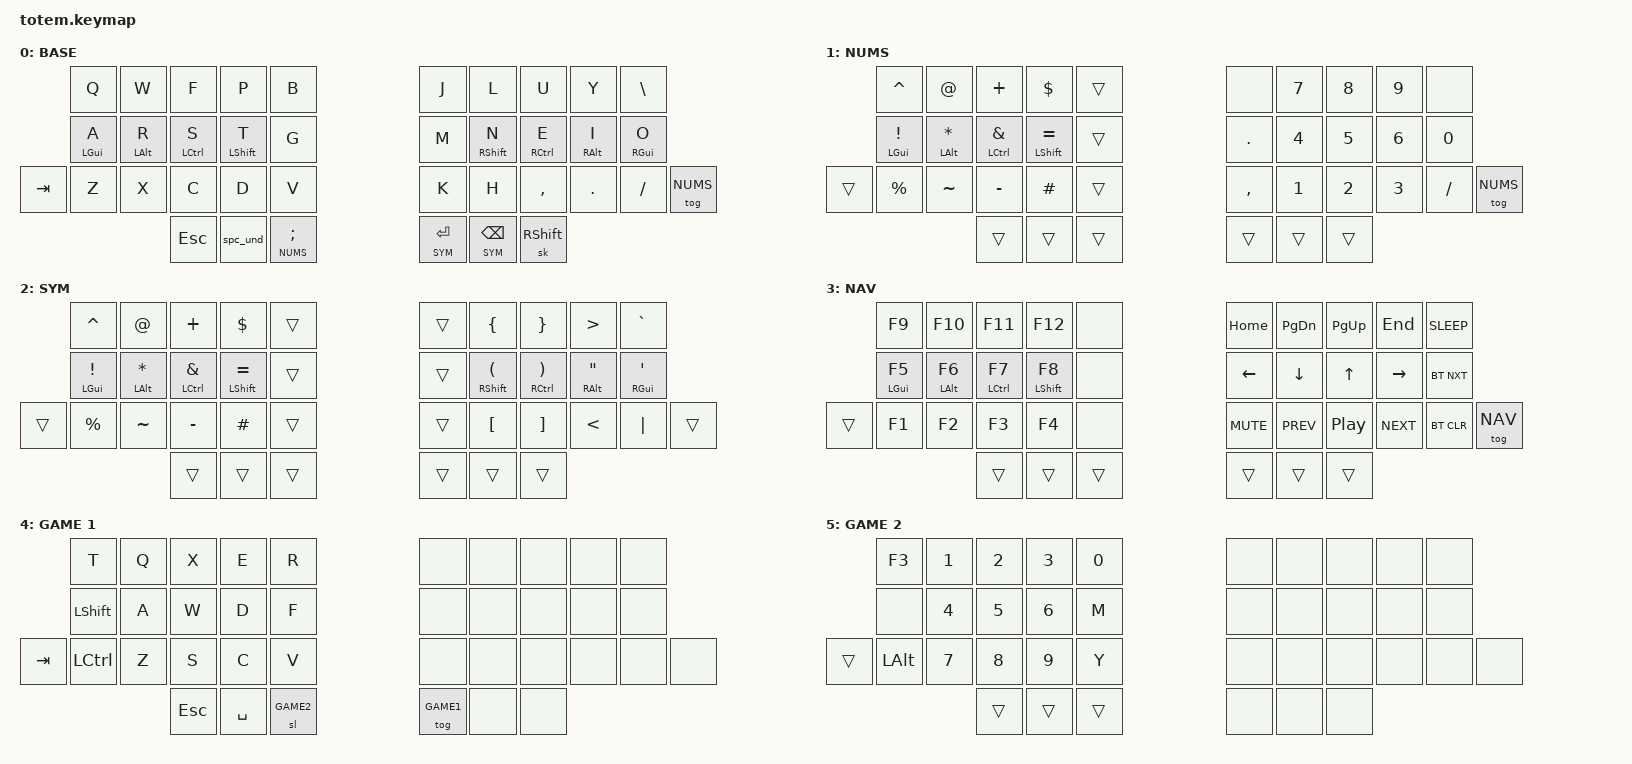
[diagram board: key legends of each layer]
//                                                        ▀▀▀▀▀     ▀▀▀▀▀          ▀▀█▀▀
//                                                        ▄▀▀▀▄  ▄  ▄▀▀▀▄  ▄  ▄▀▀▀▄  █  ▄▀▀▀▄
//                                                        █   █  █  █   █  █  █   █  █  █   █
//                                                         ▀▀▀   █   ▀▀▀   █   ▀▀▀   ▀   ▀▀▀
//                                                               █      ▄▄▄█▄▄▄    █   █  
//                                                               ▀      █  █  █     █▄█
//                                                             ▀▀▀▀▀    █  █  █      ▀
//                                                                      ▀  ▀  ▀
//
// ▄▄▄▄▄▄▄▄▄▄▄▄▄▄▄▄▄▄▄▄▄▄▄▄▄▄▄▄▄▄▄▄▄▄▄▄▄▄▄▄▄▄▄▄▄▄▄▄▄▄▄▄▄▄▄▄▄▄▄▄▄▄▄▄▄▄▄▄▄▄▄▄▄▄▄▄▄▄▄▄▄▄▄▄▄▄▄▄▄▄▄▄▄▄▄▄▄▄▄▄▄▄▄▄▄▄▄▄▄▄▄▄▄▄▄▄▄▄▄▄▄▄▄▄▄▄▄▄▄▄▄▄▄▄▄▄▄▄▄▄▄▄▄▄▄▄▄▄▄
       

#include <behaviors.dtsi>
#include <dt-bindings/zmk/keys.h>
#include <dt-bindings/zmk/bt.h>
#include <dt-bindings/zmk/outputs.h>
#include <dt-bindings/zmk/pointing.h>
    
#define BASE 0
#define NUMS 1
#define SYM  2
#define NAV  3
#define GAME1 4
#define GAME2 5

&lt {
  flavor = "hold-preferred";
  tapping-term-ms = <170>;
};

&sk {
    quick-release;
};

/ {
     combos {
            compatible = "zmk,combos";
            combo_nav {
                timeout-ms = <50>;
                key-positions = <33 36>;
                bindings = <&sl NAV>;
            };

            combo_capsword {
                timeout-ms = <75>;
                key-positions = <32 37>;
                bindings = <&caps_word>;
            };

            combo_qmark{
                timeout-ms = <75>;
                key-positions = <28 29>;
                bindings = <&kp QMARK>;
            };

            combo_game1 {
                timeout-ms = <100>;
                key-positions = <11 12 13 23>;
                bindings = <&tog GAME1>;
                layers = <BASE>;
            };

            combo_bootloader {
                timeout-ms = <50>;
                key-positions = <20 31>;
                bindings = <&bootloader>;
            };

            combo_bright_dwn {
                timeout-ms = <50>;
                key-positions = <15 26>;
                bindings = <&kp C_BRI_DN>;
                layers = <BASE>;
            };
            combo_bright_up {
                timeout-ms = <50>;
                key-positions = <5 15>;
                bindings = <&kp C_BRI_UP>;
                layers = <BASE>;
            };

            combo_vol_dn {
                timeout-ms = <50>;
                key-positions = <14 25>;
                bindings = <&kp C_VOL_DN>;
                layers = <BASE>;
            };
            combo_vol_up {
                timeout-ms = <50>;
                key-positions = <4 14>;
                bindings = <&kp C_VOL_UP>;
                layers = <BASE>;
            };

    };

    behaviors {
        spc_und: space_underscore {
            compatible = "zmk,behavior-mod-morph";
            #binding-cells = <0>;
            bindings = <&kp SPACE>, <&kp UNDER>;
            mods = <(MOD_LSFT|MOD_RSFT)>;
        };

        hml: home_row_mod_left {
            compatible = "zmk,behavior-hold-tap";
            #binding-cells = <2>;
            bindings = <&kp>, <&kp>;
            flavor = "balanced";
            require-prior-idle-ms = <150>;
            tapping-term-ms = <280>;
            quick-tap-ms = <175>;
            hold-trigger-key-positions = <
                5 6 7 8 9
                15 16 17 18 19
                26 27 28 29 30 31
                35 36 37
            >;
            hold-trigger-on-release;
        };

        hmr: home_row_mod_right {
            compatible = "zmk,behavior-hold-tap";
            #binding-cells = <2>;
            bindings = <&kp>, <&kp>;
            flavor = "balanced";
            require-prior-idle-ms = <150>;
            tapping-term-ms = <280>;
            quick-tap-ms = <175>;
            hold-trigger-key-positions = <
                0 1 2 3 4
                10 11 12 13 14
                20 21 22 23 24 25
                32 33 34
            >;
            hold-trigger-on-release;
        };

        hmlm: home_row_mod_left_mouse_emulation {
            compatible = "zmk,behavior-hold-tap";
            #binding-cells = <2>;
            bindings = <&kp>, <&mmv>;
            flavor = "balanced";
            require-prior-idle-ms = <150>;
            tapping-term-ms = <280>;
            quick-tap-ms = <175>;
            hold-trigger-key-positions = <
                5 6 7 8 9
                15 16 17 18 19
                26 27 28 29 30 31
                35 36 37
            >;
            hold-trigger-on-release;
        };

    };

        keymap {
                compatible = "zmk,keymap";
// ▄▄▄▄▄▄▄▄▄▄▄▄▄▄▄▄▄▄▄▄▄▄▄▄▄▄▄▄▄▄▄▄▄▄▄▄▄▄▄▄▄▄▄▄▄▄▄▄▄▄▄▄▄▄▄▄▄▄▄▄▄▄▄▄▄▄▄▄▄▄▄▄▄▄▄▄▄▄▄▄▄▄▄▄▄▄▄▄▄▄▄▄▄▄▄▄▄▄▄▄▄▄▄▄▄▄▄▄▄▄▄▄▄▄▄▄▄▄▄▄▄▄▄▄▄▄▄▄▄▄▄▄▄▄▄▄▄▄▄▄▄▄▄▄▄▄▄▄▄▄▄▄▄▄▄▄▄▄▄▄▄▄▄▄▄▄▄▄▄▄▄▄▄▄▄▄▄▄▄▄▄▄▄▄▄▄▄▄▄▄▄▄▄▄▄▄▄▄▄▄▄▄▄▄▄▄▄▄▄▄▄▄▄▄▄▄▄▄▄▄▄

                base_layer {
// ┏━━━━━━━━━━━━━━━━━━━━━━━━━━━━━━━━━━━━━━━┓
label= "BASE"                               ;
// ┗━━━━━━━━━━━━━━━━━━━━━━━━━━━━━━━━━━━━━━━┛
//							             ┏━━━━━━━━━━━┳━━━━━━━━━━━┳━━━━━━━━━━━┳━━━━━━━━━━━┳━━━━━━━━━━━┓   ┏━━━━━━━━━━━┳━━━━━━━━━━━┳━━━━━━━━━━━┳━━━━━━━━━━━┳━━━━━━━━━━━┓
//							             ┃     Q     ┃     W     ┃     F     ┃     P     ┃     B     ┃   ┃     J     ┃     L     ┃     U     ┃     Y     ┃     \     ┃
//							             ┣━━━━━━━━━━━╋━━━━━━━━━━━╋━━━━━━━━━━━╋━━━━━━━━━━━╋━━━━━━━━━━━┫   ┣━━━━━━━━━━━╋━━━━━━━━━━━╋━━━━━━━━━━━╋━━━━━━━━━━━╋━━━━━━━━━━━┫
//							             ┃     A     ┃     R     ┃     S     ┃     T     ┃     G     ┃   ┃     M     ┃     N     ┃     E     ┃     I     ┃     O     ┃
//							 ┏━━━━━━━━━━━╋━━━━━━━━━━━╋━━━━━━━━━━━╋━━━━━━━━━━━╋━━━━━━━━━━━╋━━━━━━━━━━━┫   ┣━━━━━━━━━━━╋━━━━━━━━━━━╋━━━━━━━━━━━╋━━━━━━━━━━━╋━━━━━━━━━━━╋━━━━━━━━━━━┓
//							 ┃    TAB    ┃     Z     ┃     X     ┃     C     ┃     D     ┃     V     ┃   ┃     K     ┃     H     ┃     ,     ┃     .     ┃     /     ┃  TOG NAV  ┃
//							 ┗━━━━━━━━━━━┻━━━━━━━━━━━┻━━━━━━━━━━━╋━━━━━━━━━━━╋━━━━━━━━━━━╋━━━━━━━━━━━┫   ┣━━━━━━━━━━━╋━━━━━━━━━━━╋━━━━━━━━━━━╋━━━━━━━━━━━┻━━━━━━━━━━━┻━━━━━━━━━━━┛
//							                                     ┃    ESC    ┃    SPC    ┃ NUMS/;    ┃   ┃   ENTER   ┃ SYM/BSPC  ┃ OSL SHIFT ┃
//							                                     ┗━━━━━━━━━━━┻━━━━━━━━━━━┻━━━━━━━━━━━┛   ┗━━━━━━━━━━━┻━━━━━━━━━━━┻━━━━━━━━━━━┛
 bindings = <
                &kp Q            &kp W            &kp F            &kp P            &kp B                                       &kp J            &kp L            &kp U            &kp Y            &kp BSLH
                &hml LGUI A      &hml LALT R      &hml LCTRL S     &hml LSHFT T     &kp G                                       &kp M            &hmr RSHFT N     &hmr RCTRL E     &hmr RALT I      &hmr RGUI O
    &kp TAB     &kp Z            &kp X            &kp C	           &kp D            &kp V                                       &kp K            &kp H            &kp COMMA        &kp DOT          &kp FSLH         &tog NUMS 
                                                  &kp ESC          &spc_und         &lt NUMS SEMI                               &lt SYM RET      &lt SYM BSPC     &sk RSHFT
                        >;
                };

// ▄▄▄▄▄▄▄▄▄▄▄▄▄▄▄▄▄▄▄▄▄▄▄▄▄▄▄▄▄▄▄▄▄▄▄▄▄▄▄▄▄▄▄▄▄▄▄▄▄▄▄▄▄▄▄▄▄▄▄▄▄▄▄▄▄▄▄▄▄▄▄▄▄▄▄▄▄▄▄▄▄▄▄▄▄▄▄▄▄▄▄▄▄▄▄▄▄▄▄▄▄▄▄▄▄▄▄▄▄▄▄▄▄▄▄▄▄▄▄▄▄▄▄▄▄▄▄▄▄▄▄▄▄▄▄▄▄▄▄▄▄▄▄▄▄▄▄▄▄▄▄▄▄▄▄▄▄▄▄▄▄▄▄▄▄▄▄▄▄▄▄▄▄▄▄▄▄▄▄▄▄▄▄▄▄▄▄▄▄▄▄▄▄▄▄▄▄▄▄▄▄▄▄▄▄▄▄▄▄▄▄▄▄▄▄▄▄▄▄▄▄


                nums_layer {
// ┏━━━━━━━━━━━━━━━━━━━━━━━━━━━━━━━━━━━━━━━┓
label= "NUMS"                               ;
// ┗━━━━━━━━━━━━━━━━━━━━━━━━━━━━━━━━━━━━━━━┛
//							             ┏━━━━━━━━━━━┳━━━━━━━━━━━┳━━━━━━━━━━━┳━━━━━━━━━━━┳━━━━━━━━━━━┓   ┏━━━━━━━━━━━┳━━━━━━━━━━━┳━━━━━━━━━━━┳━━━━━━━━━━━┳━━━━━━━━━━━┓
//							             ┃           ┃           ┃           ┃           ┃           ┃   ┃           ┃     7     ┃     8     ┃     9     ┃           ┃
//							             ┣━━━━━━━━━━━╋━━━━━━━━━━━╋━━━━━━━━━━━╋━━━━━━━━━━━╋━━━━━━━━━━━┫   ┣━━━━━━━━━━━╋━━━━━━━━━━━╋━━━━━━━━━━━╋━━━━━━━━━━━╋━━━━━━━━━━━┫
//							             ┃           ┃           ┃           ┃           ┃           ┃   ┃     .     ┃     4     ┃     5     ┃     6     ┃     0     ┃
//							 ┏━━━━━━━━━━━╋━━━━━━━━━━━╋━━━━━━━━━━━╋━━━━━━━━━━━╋━━━━━━━━━━━╋━━━━━━━━━━━┫   ┣━━━━━━━━━━━╋━━━━━━━━━━━╋━━━━━━━━━━━╋━━━━━━━━━━━╋━━━━━━━━━━━╋━━━━━━━━━━━┓
//							 ┃           ┃           ┃           ┃           ┃           ┃           ┃   ┃     ,     ┃     1     ┃     2     ┃     3     ┃     /     ┃ TOG NUMS  ┃
//							 ┗━━━━━━━━━━━┻━━━━━━━━━━━┻━━━━━━━━━━━╋━━━━━━━━━━━╋━━━━━━━━━━━╋━━━━━━━━━━━┫   ┣━━━━━━━━━━━╋━━━━━━━━━━━╋━━━━━━━━━━━╋━━━━━━━━━━━┻━━━━━━━━━━━┻━━━━━━━━━━━┛
//							                                     ┃           ┃           ┃           ┃   ┃           ┃           ┃           ┃
//							                                     ┗━━━━━━━━━━━┻━━━━━━━━━━━┻━━━━━━━━━━━┛   ┗━━━━━━━━━━━┻━━━━━━━━━━━┻━━━━━━━━━━━┛
 bindings = <
                &kp CARET        &kp AT           &kp PLUS         &kp DOLLAR       &trans                  &none            &kp N7           &kp N8           &kp N9           &none
                &hml LGUI EXCL   &hml LALT STAR   &hml LCTRL AMPS  &hml LSHFT EQUAL &trans                  &kp PERIOD       &kp N4           &kp N5           &kp N6           &kp N0
    &trans      &kp PRCNT        &kp TILDE        &kp MINUS        &kp HASH         &trans                  &kp COMMA        &kp N1           &kp N2           &kp N3           &kp FSLH         &tog NUMS
                                                  &trans           &trans           &trans                  &trans           &trans           &trans
                        >;
                };

// ▄▄▄▄▄▄▄▄▄▄▄▄▄▄▄▄▄▄▄▄▄▄▄▄▄▄▄▄▄▄▄▄▄▄▄▄▄▄▄▄▄▄▄▄▄▄▄▄▄▄▄▄▄▄▄▄▄▄▄▄▄▄▄▄▄▄▄▄▄▄▄▄▄▄▄▄▄▄▄▄▄▄▄▄▄▄▄▄▄▄▄▄▄▄▄▄▄▄▄▄▄▄▄▄▄▄▄▄▄▄▄▄▄▄▄▄▄▄▄▄▄▄▄▄▄▄▄▄▄▄▄▄▄▄▄▄▄▄▄▄▄▄▄▄▄▄▄▄▄▄▄▄▄▄▄▄▄▄▄▄▄▄▄▄▄▄▄▄▄▄▄▄▄▄▄▄▄▄▄▄▄▄▄▄▄▄▄▄▄▄▄▄▄▄▄▄▄▄▄▄▄▄▄▄▄▄▄▄▄▄▄▄▄▄▄▄▄▄▄▄▄

                sym_layer {
// ┏━━━━━━━━━━━━━━━━━━━━━━━━━━━━━━━━━━━━━━━┓
label= "SYM"                                ;
// ┗━━━━━━━━━━━━━━━━━━━━━━━━━━━━━━━━━━━━━━━┛
//							             ┏━━━━━━━━━━━┳━━━━━━━━━━━┳━━━━━━━━━━━┳━━━━━━━━━━━┳━━━━━━━━━━━┓   ┏━━━━━━━━━━━┳━━━━━━━━━━━┳━━━━━━━━━━━┳━━━━━━━━━━━┳━━━━━━━━━━━┓
//							             ┃     ^     ┃     @     ┃     +     ┃     $     ┃           ┃   ┃           ┃     {     ┃     }     ┃     >     ┃     `     ┃
//							             ┣━━━━━━━━━━━╋━━━━━━━━━━━╋━━━━━━━━━━━╋━━━━━━━━━━━╋━━━━━━━━━━━┫   ┣━━━━━━━━━━━╋━━━━━━━━━━━╋━━━━━━━━━━━╋━━━━━━━━━━━╋━━━━━━━━━━━┫
//							             ┃     !     ┃     *     ┃     &     ┃     =     ┃           ┃   ┃           ┃     (     ┃     )     ┃     "     ┃     '     ┃
//							 ┏━━━━━━━━━━━╋━━━━━━━━━━━╋━━━━━━━━━━━╋━━━━━━━━━━━╋━━━━━━━━━━━╋━━━━━━━━━━━┫   ┣━━━━━━━━━━━╋━━━━━━━━━━━╋━━━━━━━━━━━╋━━━━━━━━━━━╋━━━━━━━━━━━╋━━━━━━━━━━━┓
//							 ┃           ┃     %     ┃     ~     ┃     -     ┃     #     ┃           ┃   ┃           ┃     [     ┃     ]     ┃     <     ┃     |     ┃           ┃
//							 ┗━━━━━━━━━━━┻━━━━━━━━━━━┻━━━━━━━━━━━╋━━━━━━━━━━━╋━━━━━━━━━━━╋━━━━━━━━━━━┫   ┣━━━━━━━━━━━╋━━━━━━━━━━━╋━━━━━━━━━━━╋━━━━━━━━━━━┻━━━━━━━━━━━┻━━━━━━━━━━━┛
//							                                     ┃           ┃           ┃           ┃   ┃           ┃           ┃           ┃
//							                                     ┗━━━━━━━━━━━┻━━━━━━━━━━━┻━━━━━━━━━━━┛   ┗━━━━━━━━━━━┻━━━━━━━━━━━┻━━━━━━━━━━━┛
 bindings = <
                &kp CARET        &kp AT           &kp PLUS         &kp DOLLAR       &trans                  &trans           &kp LBRC         &kp RBRC         &kp GT           &kp GRAVE
                &hml LGUI EXCL   &hml LALT STAR   &hml LCTRL AMPS  &hml LSHFT EQUAL &trans                  &trans           &hmr RSHFT LPAR  &hmr RCTRL RPAR  &hmr RALT DQT    &hmr RGUI APOS
    &trans      &kp PRCNT        &kp TILDE        &kp MINUS        &kp HASH         &trans                  &trans           &kp LBKT         &kp RBKT         &kp LT           &kp PIPE         &trans
                                                  &trans           &trans           &trans                  &trans           &trans           &trans
                        >;
                };

// ▄▄▄▄▄▄▄▄▄▄▄▄▄▄▄▄▄▄▄▄▄▄▄▄▄▄▄▄▄▄▄▄▄▄▄▄▄▄▄▄▄▄▄▄▄▄▄▄▄▄▄▄▄▄▄▄▄▄▄▄▄▄▄▄▄▄▄▄▄▄▄▄▄▄▄▄▄▄▄▄▄▄▄▄▄▄▄▄▄▄▄▄▄▄▄▄▄▄▄▄▄▄▄▄▄▄▄▄▄▄▄▄▄▄▄▄▄▄▄▄▄▄▄▄▄▄▄▄▄▄▄▄▄▄▄▄▄▄▄▄▄▄▄▄▄▄▄▄▄▄▄▄▄▄▄▄▄▄▄▄▄▄▄▄▄▄▄▄▄▄▄▄▄▄▄▄▄▄▄▄▄▄▄▄▄▄▄▄▄▄▄▄▄▄▄▄▄▄▄▄▄▄▄▄▄▄▄▄▄▄▄▄▄▄▄▄▄▄▄▄▄

                nav_layer {
// ┏━━━━━━━━━━━━━━━━━━━━━━━━━━━━━━━━━━━━━━━┓
label= "NAV"                                ;
// ┗━━━━━━━━━━━━━━━━━━━━━━━━━━━━━━━━━━━━━━━┛
//							             ┏━━━━━━━━━━━┳━━━━━━━━━━━┳━━━━━━━━━━━┳━━━━━━━━━━━┳━━━━━━━━━━━┓   ┏━━━━━━━━━━━┳━━━━━━━━━━━┳━━━━━━━━━━━┳━━━━━━━━━━━┳━━━━━━━━━━━┓
//							             ┃    F9     ┃    F10    ┃    F11    ┃    F12    ┃			 ┃   ┃   HOME    ┃  PG_DWN   ┃   PG_UP   ┃    END    ┃   SLEEP   ┃
//							             ┣━━━━━━━━━━━╋━━━━━━━━━━━╋━━━━━━━━━━━╋━━━━━━━━━━━╋━━━━━━━━━━━┫   ┣━━━━━━━━━━━╋━━━━━━━━━━━╋━━━━━━━━━━━╋━━━━━━━━━━━╋━━━━━━━━━━━┫
//							             ┃    F5     ┃    F6     ┃    F7     ┃    F8     ┃           ┃   ┃   LEFT    ┃   DOWN    ┃    UP     ┃   RIGHT   ┃   BT NXT  ┃
//							 ┏━━━━━━━━━━━╋━━━━━━━━━━━╋━━━━━━━━━━━╋━━━━━━━━━━━╋━━━━━━━━━━━╋━━━━━━━━━━━┫   ┣━━━━━━━━━━━╋━━━━━━━━━━━╋━━━━━━━━━━━╋━━━━━━━━━━━╋━━━━━━━━━━━╋━━━━━━━━━━━┓
//							 ┃           ┃    F1     ┃    F2     ┃    F3     ┃    F4     ┃           ┃   ┃   MUTE    ┃   PREV    ┃ PLAY/PAUSE┃   NEXT    ┃   BT_CLR  ┃  TOG NAV  ┃
//							 ┗━━━━━━━━━━━┻━━━━━━━━━━━┻━━━━━━━━━━━╋━━━━━━━━━━━╋━━━━━━━━━━━╋━━━━━━━━━━━┫   ┣━━━━━━━━━━━╋━━━━━━━━━━━╋━━━━━━━━━━━╋━━━━━━━━━━━┻━━━━━━━━━━━┻━━━━━━━━━━━┛
//							                                     ┃           ┃           ┃           ┃   ┃           ┃           ┃           ┃
//							                                     ┗━━━━━━━━━━━┻━━━━━━━━━━━┻━━━━━━━━━━━┛   ┗━━━━━━━━━━━┻━━━━━━━━━━━┻━━━━━━━━━━━┛
 bindings = <
                &kp F9           &kp F10          &kp F11          &kp F12          &none                   &kp HOME         &kp PG_DN        &kp PG_UP        &kp END          &kp C_SLEEP
                &hml LGUI F5     &hml LALT F6     &hml LCTRL F7    &hml LSHFT F8    &none                   &kp LEFT         &kp DOWN         &kp UP           &kp RIGHT        &bt BT_NXT
    &trans      &kp F1           &kp F2           &kp F3           &kp F4           &none                   &kp C_MUTE       &kp C_PREV       &kp C_PP         &kp C_NEXT       &bt BT_CLR	   &tog NAV
                                                  &trans           &trans           &trans                  &trans           &trans           &trans
                        >;
                };

// ▄▄▄▄▄▄▄▄▄▄▄▄▄▄▄▄▄▄▄▄▄▄▄▄▄▄▄▄▄▄▄▄▄▄▄▄▄▄▄▄▄▄▄▄▄▄▄▄▄▄▄▄▄▄▄▄▄▄▄▄▄▄▄▄▄▄▄▄▄▄▄▄▄▄▄▄▄▄▄▄▄▄▄▄▄▄▄▄▄▄▄▄▄▄▄▄▄▄▄▄▄▄▄▄▄▄▄▄▄▄▄▄▄▄▄▄▄▄▄▄▄▄▄▄▄▄▄▄▄▄▄▄▄▄▄▄▄▄▄▄▄▄▄▄▄▄▄▄▄▄▄▄▄▄▄▄▄▄▄▄▄▄▄▄▄▄▄▄▄▄▄▄▄▄▄▄▄▄▄▄▄▄▄▄▄▄▄▄▄▄▄▄▄▄▄▄▄▄▄▄▄▄▄▄▄▄▄▄▄▄▄▄▄▄▄▄▄▄▄▄▄

                game1_layer {
// ┏━━━━━━━━━━━━━━━━━━━━━━━━━━━━━━━━━━━━━━━┓
label= "GAME 1"                             ;
// ┗━━━━━━━━━━━━━━━━━━━━━━━━━━━━━━━━━━━━━━━┛
//							             ┏━━━━━━━━━━━┳━━━━━━━━━━━┳━━━━━━━━━━━┳━━━━━━━━━━━┳━━━━━━━━━━━┓   ┏━━━━━━━━━━━┳━━━━━━━━━━━┳━━━━━━━━━━━┳━━━━━━━━━━━┳━━━━━━━━━━━┓
//							             ┃     T     ┃     Q     ┃     X     ┃     E     ┃     R     ┃   ┃           ┃           ┃           ┃           ┃           ┃
//							             ┣━━━━━━━━━━━╋━━━━━━━━━━━╋━━━━━━━━━━━╋━━━━━━━━━━━╋━━━━━━━━━━━┫   ┣━━━━━━━━━━━╋━━━━━━━━━━━╋━━━━━━━━━━━╋━━━━━━━━━━━╋━━━━━━━━━━━┫
//							             ┃   SHIFT   ┃     A     ┃     W     ┃     D     ┃     F     ┃   ┃           ┃           ┃           ┃           ┃           ┃
//							 ┏━━━━━━━━━━━╋━━━━━━━━━━━╋━━━━━━━━━━━╋━━━━━━━━━━━╋━━━━━━━━━━━╋━━━━━━━━━━━┫   ┣━━━━━━━━━━━╋━━━━━━━━━━━╋━━━━━━━━━━━╋━━━━━━━━━━━╋━━━━━━━━━━━╋━━━━━━━━━━━┓
//							 ┃    TAB    ┃   CTRL    ┃     Z     ┃     S     ┃     C     ┃     V     ┃   ┃           ┃           ┃           ┃           ┃           ┃           ┃
//							 ┗━━━━━━━━━━━┻━━━━━━━━━━━┻━━━━━━━━━━━╋━━━━━━━━━━━╋━━━━━━━━━━━╋━━━━━━━━━━━┫   ┣━━━━━━━━━━━╋━━━━━━━━━━━╋━━━━━━━━━━━╋━━━━━━━━━━━┻━━━━━━━━━━━┻━━━━━━━━━━━┛
//							                                     ┃    ESC    ┃    SPC    ┃  GAME 2   ┃   ┃           ┃           ┃           ┃
//							                                     ┗━━━━━━━━━━━┻━━━━━━━━━━━┻━━━━━━━━━━━┛   ┗━━━━━━━━━━━┻━━━━━━━━━━━┻━━━━━━━━━━━┛
 bindings = <
                &kp T            &kp Q            &kp X            &kp E            &kp R                   &none            &none            &none            &none            &none
                &kp LSHIFT       &kp A            &kp W            &kp D            &kp F                   &none            &none            &none            &none            &none
    &kp TAB     &kp LCTRL        &kp Z            &kp S            &kp C            &kp V                   &none            &none            &none            &none            &none            &none
                                                  &kp ESC          &kp SPACE        &sl GAME2               &tog GAME1       &none            &none
                        >;
                };

// ▄▄▄▄▄▄▄▄▄▄▄▄▄▄▄▄▄▄▄▄▄▄▄▄▄▄▄▄▄▄▄▄▄▄▄▄▄▄▄▄▄▄▄▄▄▄▄▄▄▄▄▄▄▄▄▄▄▄▄▄▄▄▄▄▄▄▄▄▄▄▄▄▄▄▄▄▄▄▄▄▄▄▄▄▄▄▄▄▄▄▄▄▄▄▄▄▄▄▄▄▄▄▄▄▄▄▄▄▄▄▄▄▄▄▄▄▄▄▄▄▄▄▄▄▄▄▄▄▄▄▄▄▄▄▄▄▄▄▄▄▄▄▄▄▄▄▄▄▄▄▄▄▄▄▄▄▄▄▄▄▄▄▄▄▄▄▄▄▄▄▄▄▄▄▄▄▄▄▄▄▄▄▄▄▄▄▄▄▄▄▄▄▄▄▄▄▄▄▄▄▄▄▄▄▄▄▄▄▄▄▄▄▄▄▄▄▄▄▄▄▄

                game2_layer {
// ┏━━━━━━━━━━━━━━━━━━━━━━━━━━━━━━━━━━━━━━━┓
label= "GAME 2"                             ;
// ┗━━━━━━━━━━━━━━━━━━━━━━━━━━━━━━━━━━━━━━━┛
//							             ┏━━━━━━━━━━━┳━━━━━━━━━━━┳━━━━━━━━━━━┳━━━━━━━━━━━┳━━━━━━━━━━━┓   ┏━━━━━━━━━━━┳━━━━━━━━━━━┳━━━━━━━━━━━┳━━━━━━━━━━━┳━━━━━━━━━━━┓
//							             ┃    F3     ┃     1     ┃     2     ┃     3     ┃     0     ┃   ┃           ┃           ┃           ┃           ┃           ┃
//							             ┣━━━━━━━━━━━╋━━━━━━━━━━━╋━━━━━━━━━━━╋━━━━━━━━━━━╋━━━━━━━━━━━┫   ┣━━━━━━━━━━━╋━━━━━━━━━━━╋━━━━━━━━━━━╋━━━━━━━━━━━╋━━━━━━━━━━━┫
//							             ┃           ┃     4     ┃     5     ┃     6     ┃     M     ┃   ┃           ┃           ┃           ┃           ┃           ┃
//							 ┏━━━━━━━━━━━╋━━━━━━━━━━━╋━━━━━━━━━━━╋━━━━━━━━━━━╋━━━━━━━━━━━╋━━━━━━━━━━━┫   ┣━━━━━━━━━━━╋━━━━━━━━━━━╋━━━━━━━━━━━╋━━━━━━━━━━━╋━━━━━━━━━━━╋━━━━━━━━━━━┓
//							 ┃           ┃    ALT    ┃     7     ┃     8     ┃     9     ┃     Y     ┃   ┃           ┃           ┃           ┃           ┃           ┃           ┃
//							 ┗━━━━━━━━━━━┻━━━━━━━━━━━┻━━━━━━━━━━━╋━━━━━━━━━━━╋━━━━━━━━━━━╋━━━━━━━━━━━┫   ┣━━━━━━━━━━━╋━━━━━━━━━━━╋━━━━━━━━━━━╋━━━━━━━━━━━┻━━━━━━━━━━━┻━━━━━━━━━━━┛
//							                                     ┃           ┃           ┃           ┃   ┃           ┃           ┃           ┃
//							                                     ┗━━━━━━━━━━━┻━━━━━━━━━━━┻━━━━━━━━━━━┛   ┗━━━━━━━━━━━┻━━━━━━━━━━━┻━━━━━━━━━━━┛
 bindings = <
                &kp F3           &kp N1           &kp N2           &kp N3           &kp N0                  &none            &none            &none            &none            &none
                &none            &kp N4           &kp N5           &kp N6           &kp M                   &none            &none            &none            &none            &none
    &trans      &kp LALT         &kp N7           &kp N8           &kp N9           &kp Y                   &none            &none            &none            &none            &none            &none
                                                  &trans           &trans           &trans                  &none            &none            &none
                        >;
                };
        };
};
